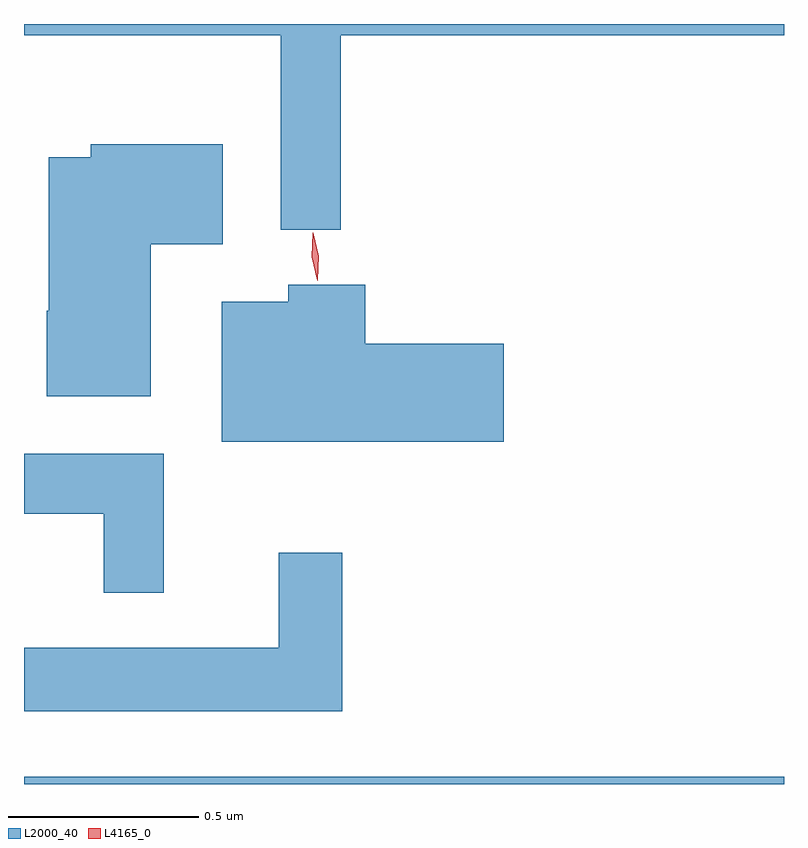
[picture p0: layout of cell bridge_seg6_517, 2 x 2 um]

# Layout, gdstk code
import gdstk
lib = gdstk.Library(unit=1e-6, precision=1e-09)
def R(c, l, rs):  # rectangles x0, y0, x1, y1
    for r in rs: c.add(gdstk.rectangle(r[:2], r[2:], *l))
def P(c, l, *ps):  # polygons
    for p in ps: c.add(gdstk.Polygon(p, *l))
L2000_40 = (2000, 40)
L4165_0 = (4165, 0)

bridge_seg6_517 = lib.new_cell('bridge_seg6_517')
R(bridge_seg6_517, L2000_40, [(987.531,1585.805,989.531,1585.824)])
P(bridge_seg6_517, L2000_40, [(988.364,1587.776),(989.531,1587.776),(989.531,1587.805),(987.531,1587.805),(987.531,1587.776),(988.206,1587.776),(988.206,1587.263),(988.364,1587.263)],
  [(987.864,1587.226),(988.054,1587.226),(988.054,1587.489),(987.706,1587.489),(987.706,1587.454),(987.596,1587.454),(987.596,1587.05),(987.591,1587.05),(987.591,1586.826),(987.864,1586.826)],
  [(988.794,1586.964),(988.429,1586.964),(988.429,1587.119),(988.226,1587.119),(988.226,1587.074),(988.051,1587.074),(988.051,1586.706),(988.794,1586.706)],
  [(987.899,1586.674),(987.531,1586.674),(987.531,1586.516),(987.741,1586.516),(987.741,1586.308),(987.899,1586.308)],
  [(988.369,1586.413),(988.201,1586.413),(988.201,1586.164),(987.531,1586.164),(987.531,1585.996),(988.369,1585.996)])
P(bridge_seg6_517, L4165_0, [(988.304,1587.13),(988.303,1587.131),(988.288,1587.192),(988.291,1587.256),(988.291,1587.256),(988.292,1587.256),(988.307,1587.194),(988.304,1587.131)])

lib.write_gds('bridge_seg6_517.gds')
